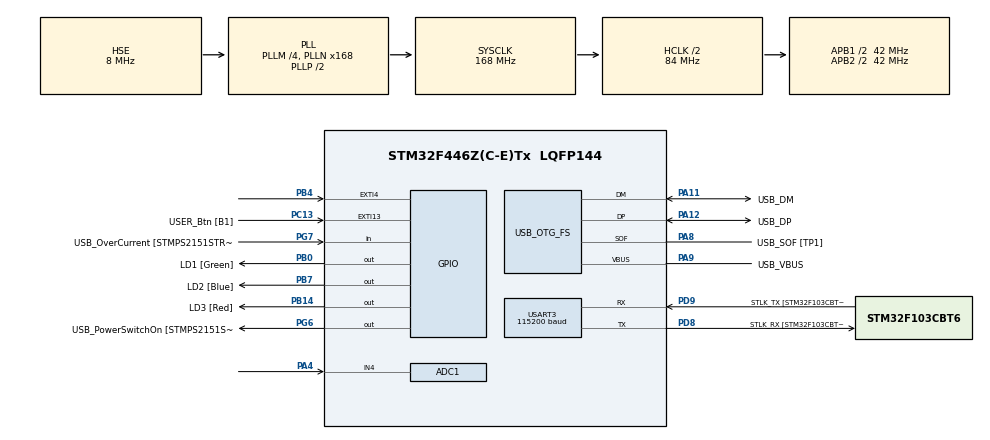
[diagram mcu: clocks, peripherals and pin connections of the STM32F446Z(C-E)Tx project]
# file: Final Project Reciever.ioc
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ADC1.Channel-1\#ChannelRegularConversion=ADC_CHANNEL_4
ADC1.ClockPrescaler=ADC_CLOCK_SYNC_PCLK_DIV8
ADC1.ContinuousConvMode=ENABLE
ADC1.DMAContinuousRequests=ENABLE
ADC1.NbrOfConversionFlag=1
ADC1.Rank-1\#ChannelRegularConversion=1
ADC1.Resolution=ADC_RESOLUTION_8B
ADC1.SamplingTime-1\#ChannelRegularConversion=ADC_SAMPLETIME_3CYCLES
ADC1.master=1
Dma.ADC1.1.Direction=DMA_PERIPH_TO_MEMORY
Dma.ADC1.1.FIFOMode=DMA_FIFOMODE_DISABLE
Dma.ADC1.1.Instance=DMA2_Stream0
Dma.ADC1.1.MemDataAlignment=DMA_MDATAALIGN_BYTE
Dma.ADC1.1.MemInc=DMA_MINC_ENABLE
Dma.ADC1.1.Mode=DMA_CIRCULAR
Dma.ADC1.1.PeriphDataAlignment=DMA_PDATAALIGN_BYTE
Dma.ADC1.1.PeriphInc=DMA_PINC_DISABLE
Dma.ADC1.1.Priority=DMA_PRIORITY_HIGH
Dma.Request0=USART3_TX
Dma.Request1=ADC1
Dma.USART3_TX.0.Direction=DMA_MEMORY_TO_PERIPH
Dma.USART3_TX.0.FIFOMode=DMA_FIFOMODE_DISABLE
Dma.USART3_TX.0.Instance=DMA1_Stream3
Dma.USART3_TX.0.MemDataAlignment=DMA_MDATAALIGN_BYTE
Dma.USART3_TX.0.MemInc=DMA_MINC_ENABLE
Dma.USART3_TX.0.Mode=DMA_NORMAL
Dma.USART3_TX.0.PeriphDataAlignment=DMA_PDATAALIGN_BYTE
Dma.USART3_TX.0.PeriphInc=DMA_PINC_DISABLE
Dma.USART3_TX.0.Priority=DMA_PRIORITY_MEDIUM
Mcu.Family=STM32F4
Mcu.Name=STM32F446Z(C-E)Tx
Mcu.Package=LQFP144
NVIC.DMA1_Stream3_IRQn=true\:0\:0\:false\:false\:true\:false\:true\:true
NVIC.DMA2_Stream0_IRQn=true\:0\:0\:false\:false\:true\:false\:true\:true
NVIC.EXTI4_IRQn=true\:1\:0\:true\:false\:true\:true\:true\:true
NVIC.PriorityGroup=NVIC_PRIORITYGROUP_4
NVIC.USART3_IRQn=true\:0\:0\:false\:false\:true\:true\:true\:true
PA10.GPIO_Label=USB_ID
PA10.Signal=USB_OTG_FS_ID
PA11.GPIO_Label=USB_DM
PA11.Mode=Device_Only
PA11.Signal=USB_OTG_FS_DM
PA12.GPIO_Label=USB_DP
PA12.Mode=Device_Only
PA12.Signal=USB_OTG_FS_DP
PA13.GPIO_Label=TMS
PA13.Mode=Serial_Wire
PA13.Signal=SYS_JTMS-SWDIO
PA14.GPIO_Label=TCK
PA14.Mode=Serial_Wire
PA14.Signal=SYS_JTCK-SWCLK
PA4.Signal=ADCx_IN4
PA8.GPIO_Label=USB_SOF [TP1]
PA8.Mode=Activate_SOF_FS
PA8.Signal=USB_OTG_FS_SOF
PA9.GPIO_Label=USB_VBUS
PA9.Mode=Activate_VBUS
PA9.Signal=USB_OTG_FS_VBUS
PB0.GPIO_Label=LD1 [Green]
PB0.Signal=GPIO_Output
PB14.GPIO_Label=LD3 [Red]
PB14.Signal=GPIO_Output
PB4.GPIO_PuPd=GPIO_NOPULL
PB4.Signal=GPXTI4
PB7.GPIO_Label=LD2 [Blue]
PB7.Signal=GPIO_Output
PC13.GPIO_Label=USER_Btn [B1]
PC13.Signal=GPXTI13
PC14-OSC32_IN.Mode=LSE-External-Oscillator
PC14-OSC32_IN.Signal=RCC_OSC32_IN
PC15-OSC32_OUT.Mode=LSE-External-Oscillator
PC15-OSC32_OUT.Signal=RCC_OSC32_OUT
PD8.GPIO_Label=STLK_RX [STM32F103CBT6_PA3]
PD8.Mode=Asynchronous
PD8.Signal=USART3_TX
PD9.GPIO_Label=STLK_TX [STM32F103CBT6_PA2]
PD9.Mode=Asynchronous
PD9.Signal=USART3_RX
PG6.GPIO_Label=USB_PowerSwitchOn [STMPS2151STR_EN]
PG6.Signal=GPIO_Output
PG7.GPIO_Label=USB_OverCurrent [STMPS2151STR_FAULT]
PG7.Signal=GPIO_Input
PH0-OSC_IN.GPIO_Label=MCO [STM32F103CBT6_PA8]
PH0-OSC_IN.Mode=HSE-External-Oscillator
PH0-OSC_IN.Signal=RCC_OSC_IN
PH1-OSC_OUT.Mode=HSE-External-Oscillator
PH1-OSC_OUT.Signal=RCC_OSC_OUT
ProjectManager.HeapSize=0x200
ProjectManager.StackSize=0x400
ProjectManager.TargetToolchain=STM32CubeIDE
RCC.48MHZClocksFreq_Value=24000000
RCC.AHBCLKDivider=RCC_SYSCLK_DIV2
RCC.AHBFreq_Value=84000000
RCC.APB1CLKDivider=RCC_HCLK_DIV2
RCC.APB1Freq_Value=42000000
RCC.APB1TimFreq_Value=84000000
RCC.APB2CLKDivider=RCC_HCLK_DIV2
RCC.APB2Freq_Value=42000000
RCC.APB2TimFreq_Value=84000000
RCC.CortexFreq_Value=84000000
RCC.HCLKFreq_Value=84000000
RCC.HSE_VALUE=8000000
RCC.HSI_VALUE=16000000
RCC.PLLM=4
RCC.PLLMUL=RCC_PLL_MUL9
RCC.PLLN=168
RCC.PLLQ=7
RCC.PRESCALERUSB=RCC_USBCLKSOURCE_PLL_DIV1_5
RCC.SYSCLKFreq_VALUE=168000000
RCC.SYSCLKSource=RCC_SYSCLKSOURCE_PLLCLK
RCC.SYSCLKSourceVirtual=RCC_SYSCLKSOURCE_PLLCLK
RCC.USBFreq_Value=48000000
RCC.VCOOutputFreq_Value=336000000
SH.ADCx_IN4.0=ADC1_IN4,IN4
USART3.BaudRate=115200
USART3.Mode=MODE_TX_RX
USART3.VirtualMode=VM_ASYNC
USB_OTG_FS.VirtualMode=Device_Only
VP_TIM6_VS_ClockSourceINT.Mode=Enable_Timer
board=NUCLEO-F446ZE

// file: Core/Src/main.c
/* USER CODE BEGIN Header */
/**
  ******************************************************************************
  * @file           : main.c
  * @brief          : Main program body
  ******************************************************************************
  * @attention
  *
  * Copyright (c) 2023 STMicroelectronics.
  * All rights reserved.
  *
  * This software is licensed under terms that can be found in the LICENSE file
  * in the root directory of this software component.
  * If no LICENSE file comes with this software, it is provided AS-IS.
  *
  ******************************************************************************
  */
/* USER CODE END Header */
#include "main.h"

/* USER CODE BEGIN Includes */
#include <string.h>
#include <stdio.h>
/* USER CODE END Includes */

/* USER CODE BEGIN PD */
#define SAMPLES_PER_BIT 477
#define BUFFER 16384
#define BYTES 13
/* USER CODE END PD */

ADC_HandleTypeDef hadc1;
DMA_HandleTypeDef hdma_adc1;

TIM_HandleTypeDef htim6;

UART_HandleTypeDef huart3;
DMA_HandleTypeDef hdma_usart3_tx;

PCD_HandleTypeDef hpcd_USB_OTG_FS;

/* USER CODE BEGIN PV */
uint8_t reception[BUFFER];
volatile uint8_t idle = 1;
uint8_t thing[8] = {0, 0, 0, 0, 0, 0, 0, 0};
int bitCount = 0;
int byteCount = -1;
int count1 = 0;
int count0 = 0;
int accounts[8*2*3] = {0};
int index1 = 0;
char a = 0;
char message[1024] = {0};
int bytes = -1;
/* USER CODE END PV */

void SystemClock_Config(void);
static void MX_GPIO_Init(void);
static void MX_DMA_Init(void);
static void MX_USART3_UART_Init(void);
static void MX_USB_OTG_FS_PCD_Init(void);
static void MX_ADC1_Init(void);
static void MX_TIM6_Init(void);
/* USER CODE BEGIN PFP */
void buildByte(char* letter, uint8_t bit, uint8_t index);
void buildWord(char* output, char letter, uint8_t index);
/* USER CODE END PFP */

int main(void)
{

  /* MCU Configuration--------------------------------------------------------*/

  /* Reset of all peripherals, Initializes the Flash interface and the Systick. */
  HAL_Init();

  /* Configure the system clock */
  SystemClock_Config();

  /* Initialize all configured peripherals */
  MX_GPIO_Init();
  MX_DMA_Init();
  MX_USART3_UART_Init();
  MX_USB_OTG_FS_PCD_Init();
  MX_ADC1_Init();
  MX_TIM6_Init();
  /* USER CODE BEGIN 2 */
  HAL_TIM_Base_Start(&htim6);
  /* USER CODE END 2 */

  /* Infinite loop */
  while (1)
  {

  }
}

void SystemClock_Config(void)
{
  RCC_OscInitTypeDef RCC_OscInitStruct = {0};
  RCC_ClkInitTypeDef RCC_ClkInitStruct = {0};

  /** Configure the main internal regulator output voltage
  */
  __HAL_RCC_PWR_CLK_ENABLE();
  __HAL_PWR_VOLTAGESCALING_CONFIG(PWR_REGULATOR_VOLTAGE_SCALE3);

  /** Initializes the RCC Oscillators according to the specified parameters
  * in the RCC_OscInitTypeDef structure.
  */
  RCC_OscInitStruct.OscillatorType = RCC_OSCILLATORTYPE_HSE;
  RCC_OscInitStruct.HSEState = RCC_HSE_ON;
  RCC_OscInitStruct.PLL.PLLState = RCC_PLL_ON;
  RCC_OscInitStruct.PLL.PLLSource = RCC_PLLSOURCE_HSE;
  RCC_OscInitStruct.PLL.PLLM = 4;
  RCC_OscInitStruct.PLL.PLLN = 168;
  RCC_OscInitStruct.PLL.PLLP = RCC_PLLP_DIV2;
  RCC_OscInitStruct.PLL.PLLQ = 7;
  RCC_OscInitStruct.PLL.PLLR = 2;
  if (HAL_RCC_OscConfig(&RCC_OscInitStruct) != HAL_OK)
  {
    Error_Handler();
  }

  /** Initializes the CPU, AHB and APB buses clocks
  */
  RCC_ClkInitStruct.ClockType = RCC_CLOCKTYPE_HCLK|RCC_CLOCKTYPE_SYSCLK
                              |RCC_CLOCKTYPE_PCLK1|RCC_CLOCKTYPE_PCLK2;
  RCC_ClkInitStruct.SYSCLKSource = RCC_SYSCLKSOURCE_PLLCLK;
  RCC_ClkInitStruct.AHBCLKDivider = RCC_SYSCLK_DIV2;
  RCC_ClkInitStruct.APB1CLKDivider = RCC_HCLK_DIV2;
  RCC_ClkInitStruct.APB2CLKDivider = RCC_HCLK_DIV2;

  if (HAL_RCC_ClockConfig(&RCC_ClkInitStruct, FLASH_LATENCY_2) != HAL_OK)
  {
    Error_Handler();
  }
}

static void MX_ADC1_Init(void)
{

  ADC_ChannelConfTypeDef sConfig = {0};

  /** Configure the global features of the ADC (Clock, Resolution, Data Alignment and number of conversion)
  */
  hadc1.Instance = ADC1;
  hadc1.Init.ClockPrescaler = ADC_CLOCK_SYNC_PCLK_DIV8;
  hadc1.Init.Resolution = ADC_RESOLUTION_8B;
  hadc1.Init.ScanConvMode = DISABLE;
  hadc1.Init.ContinuousConvMode = ENABLE;
  hadc1.Init.DiscontinuousConvMode = DISABLE;
  hadc1.Init.ExternalTrigConvEdge = ADC_EXTERNALTRIGCONVEDGE_NONE;
  hadc1.Init.ExternalTrigConv = ADC_SOFTWARE_START;
  hadc1.Init.DataAlign = ADC_DATAALIGN_RIGHT;
  hadc1.Init.NbrOfConversion = 1;
  hadc1.Init.DMAContinuousRequests = ENABLE;
  hadc1.Init.EOCSelection = ADC_EOC_SINGLE_CONV;
  if (HAL_ADC_Init(&hadc1) != HAL_OK)
  {
    Error_Handler();
  }

  /** Configure for the selected ADC regular channel its corresponding rank in the sequencer and its sample time.
  */
  sConfig.Channel = ADC_CHANNEL_4;
  sConfig.Rank = 1;
  sConfig.SamplingTime = ADC_SAMPLETIME_3CYCLES;
  if (HAL_ADC_ConfigChannel(&hadc1, &sConfig) != HAL_OK)
  {
    Error_Handler();
  }

}

static void MX_TIM6_Init(void)
{

  TIM_MasterConfigTypeDef sMasterConfig = {0};

  htim6.Instance = TIM6;
  htim6.Init.Prescaler = 0;
  htim6.Init.CounterMode = TIM_COUNTERMODE_UP;
  htim6.Init.Period = 65535;
  htim6.Init.AutoReloadPreload = TIM_AUTORELOAD_PRELOAD_DISABLE;
  if (HAL_TIM_Base_Init(&htim6) != HAL_OK)
  {
    Error_Handler();
  }
  sMasterConfig.MasterOutputTrigger = TIM_TRGO_RESET;
  sMasterConfig.MasterSlaveMode = TIM_MASTERSLAVEMODE_DISABLE;
  if (HAL_TIMEx_MasterConfigSynchronization(&htim6, &sMasterConfig) != HAL_OK)
  {
    Error_Handler();
  }

}

static void MX_USART3_UART_Init(void)
{

  huart3.Instance = USART3;
  huart3.Init.BaudRate = 115200;
  huart3.Init.WordLength = UART_WORDLENGTH_8B;
  huart3.Init.StopBits = UART_STOPBITS_1;
  huart3.Init.Parity = UART_PARITY_NONE;
  huart3.Init.Mode = UART_MODE_TX_RX;
  huart3.Init.HwFlowCtl = UART_HWCONTROL_NONE;
  huart3.Init.OverSampling = UART_OVERSAMPLING_16;
  if (HAL_UART_Init(&huart3) != HAL_OK)
  {
    Error_Handler();
  }

}

static void MX_USB_OTG_FS_PCD_Init(void)
{

  hpcd_USB_OTG_FS.Instance = USB_OTG_FS;
  hpcd_USB_OTG_FS.Init.dev_endpoints = 6;
  hpcd_USB_OTG_FS.Init.speed = PCD_SPEED_FULL;
  hpcd_USB_OTG_FS.Init.dma_enable = DISABLE;
  hpcd_USB_OTG_FS.Init.phy_itface = PCD_PHY_EMBEDDED;
  hpcd_USB_OTG_FS.Init.Sof_enable = ENABLE;
  hpcd_USB_OTG_FS.Init.low_power_enable = DISABLE;
  hpcd_USB_OTG_FS.Init.lpm_enable = DISABLE;
  hpcd_USB_OTG_FS.Init.vbus_sensing_enable = ENABLE;
  hpcd_USB_OTG_FS.Init.use_dedicated_ep1 = DISABLE;
  if (HAL_PCD_Init(&hpcd_USB_OTG_FS) != HAL_OK)
  {
    Error_Handler();
  }

}

static void MX_DMA_Init(void)
{

  /* DMA controller clock enable */
  __HAL_RCC_DMA1_CLK_ENABLE();
  __HAL_RCC_DMA2_CLK_ENABLE();

  /* DMA interrupt init */
  /* DMA1_Stream3_IRQn interrupt configuration */
  HAL_NVIC_SetPriority(DMA1_Stream3_IRQn, 0, 0);
  HAL_NVIC_EnableIRQ(DMA1_Stream3_IRQn);
  /* DMA2_Stream0_IRQn interrupt configuration */
  HAL_NVIC_SetPriority(DMA2_Stream0_IRQn, 0, 0);
  HAL_NVIC_EnableIRQ(DMA2_Stream0_IRQn);

}

static void MX_GPIO_Init(void)
{
  GPIO_InitTypeDef GPIO_InitStruct = {0};

  /* GPIO Ports Clock Enable */
  __HAL_RCC_GPIOC_CLK_ENABLE();
  __HAL_RCC_GPIOH_CLK_ENABLE();
  __HAL_RCC_GPIOA_CLK_ENABLE();
  __HAL_RCC_GPIOB_CLK_ENABLE();
  __HAL_RCC_GPIOD_CLK_ENABLE();
  __HAL_RCC_GPIOG_CLK_ENABLE();

  /*Configure GPIO pin Output Level */
  HAL_GPIO_WritePin(GPIOB, LD1_Pin|LD3_Pin|LD2_Pin, GPIO_PIN_RESET);

  /*Configure GPIO pin Output Level */
  HAL_GPIO_WritePin(USB_PowerSwitchOn_GPIO_Port, USB_PowerSwitchOn_Pin, GPIO_PIN_RESET);

  /*Configure GPIO pin : USER_Btn_Pin */
  GPIO_InitStruct.Pin = USER_Btn_Pin;
  GPIO_InitStruct.Mode = GPIO_MODE_IT_RISING;
  GPIO_InitStruct.Pull = GPIO_NOPULL;
  HAL_GPIO_Init(USER_Btn_GPIO_Port, &GPIO_InitStruct);

  /*Configure GPIO pins : LD1_Pin LD3_Pin LD2_Pin */
  GPIO_InitStruct.Pin = LD1_Pin|LD3_Pin|LD2_Pin;
  GPIO_InitStruct.Mode = GPIO_MODE_OUTPUT_PP;
  GPIO_InitStruct.Pull = GPIO_NOPULL;
  GPIO_InitStruct.Speed = GPIO_SPEED_FREQ_LOW;
  HAL_GPIO_Init(GPIOB, &GPIO_InitStruct);

  /*Configure GPIO pin : USB_PowerSwitchOn_Pin */
  GPIO_InitStruct.Pin = USB_PowerSwitchOn_Pin;
  GPIO_InitStruct.Mode = GPIO_MODE_OUTPUT_PP;
  GPIO_InitStruct.Pull = GPIO_NOPULL;
  GPIO_InitStruct.Speed = GPIO_SPEED_FREQ_LOW;
  HAL_GPIO_Init(USB_PowerSwitchOn_GPIO_Port, &GPIO_InitStruct);

  /*Configure GPIO pin : USB_OverCurrent_Pin */
  GPIO_InitStruct.Pin = USB_OverCurrent_Pin;
  GPIO_InitStruct.Mode = GPIO_MODE_INPUT;
  GPIO_InitStruct.Pull = GPIO_NOPULL;
  HAL_GPIO_Init(USB_OverCurrent_GPIO_Port, &GPIO_InitStruct);

  /*Configure GPIO pin : PB4 */
  GPIO_InitStruct.Pin = GPIO_PIN_4;
  GPIO_InitStruct.Mode = GPIO_MODE_IT_RISING;
  GPIO_InitStruct.Pull = GPIO_NOPULL;
  HAL_GPIO_Init(GPIOB, &GPIO_InitStruct);

  /* EXTI interrupt init*/
  HAL_NVIC_SetPriority(EXTI4_IRQn, 1, 0);
  HAL_NVIC_EnableIRQ(EXTI4_IRQn);

}

/* USER CODE BEGIN 4 */

// interrupt for checkin
void HAL_GPIO_EXTI_Callback(uint16_t GPIO_Pin)
{
	HAL_NVIC_DisableIRQ(EXTI4_IRQn);
	count1 = 23;
	count0 = 0;
	bitCount = 0;
	bytes = -999;
	byteCount = -1;
	idle = 0;
	a = 0;

	HAL_GPIO_WritePin(LD1_GPIO_Port, LD1_Pin, GPIO_PIN_SET);

	HAL_ADC_Start_DMA(&hadc1, (uint32_t*)reception, BUFFER);
}

void processBuffer(int startIndex, int stopIndex){
	HAL_GPIO_WritePin(LD2_GPIO_Port, LD2_Pin, GPIO_PIN_SET);
	for(int i = startIndex; i < stopIndex; i++){
		if(reception[i] > 100){
			count1++;
		}
		else{
			count0++;
		}
		if((count1+count0) == SAMPLES_PER_BIT){
			if(count1 + 28	*SAMPLES_PER_BIT/100 > count0){
				buildByte(&a, 1, bitCount%8);
			}
			else{
				if(bitCount == 0) {
					HAL_ADC_Stop_DMA(&hadc1);
					idle = 1;
					HAL_NVIC_EnableIRQ(EXTI4_IRQn);
					break;
				}
				buildByte(&a, 0, bitCount%8);
			}
			count1 = 0;
			count0 = 0;
			if(bitCount%8 == 7){
				if(byteCount == -1){
					HAL_GPIO_WritePin(LD3_GPIO_Port, LD3_Pin, GPIO_PIN_SET);
					//bytes = 13;
					bytes = ((a & 0b11111110) >> 1) + 1;
					for(int i = 0; i < sizeof(message); i++){
						message[i] = 0;
					}
					byteCount = 0;
				}
				else{
					message[byteCount] = a;
					byteCount++;
				}

			}
			if(bitCount == 8*bytes-1){
				if(HAL_UART_GetState(&huart3) != HAL_UART_STATE_BUSY_TX){
					HAL_UART_Transmit_DMA(&huart3, (uint8_t *)message, byteCount+1);
				}
			}
			bitCount++;
		}
		if(bitCount == 8*bytes){
			HAL_ADC_Stop_DMA(&hadc1);
			idle = 1;
			HAL_NVIC_EnableIRQ(EXTI4_IRQn);
			break;
		}
	}
}

void HAL_ADC_ConvHalfCpltCallback(ADC_HandleTypeDef* hadc) {
	//HAL_GPIO_WritePin(LD2_GPIO_Port, LD2_Pin, GPIO_PIN_SET);
	if(idle) return;
	processBuffer(0, BUFFER/2);
}

void HAL_ADC_ConvCpltCallback(ADC_HandleTypeDef* hadc) {
	if(idle)return;
	processBuffer(BUFFER/2, BUFFER);
}

void HAL_UART_TxCpltCallback(UART_HandleTypeDef *huart){
}

void buildByte(char* byte, uint8_t bit, uint8_t index){
	if(!index)*byte = 0;
	*byte |= bit << index;
}

/* USER CODE END 4 */

void Error_Handler(void)
{
  __disable_irq();
  while (1)
  {
  }
}
